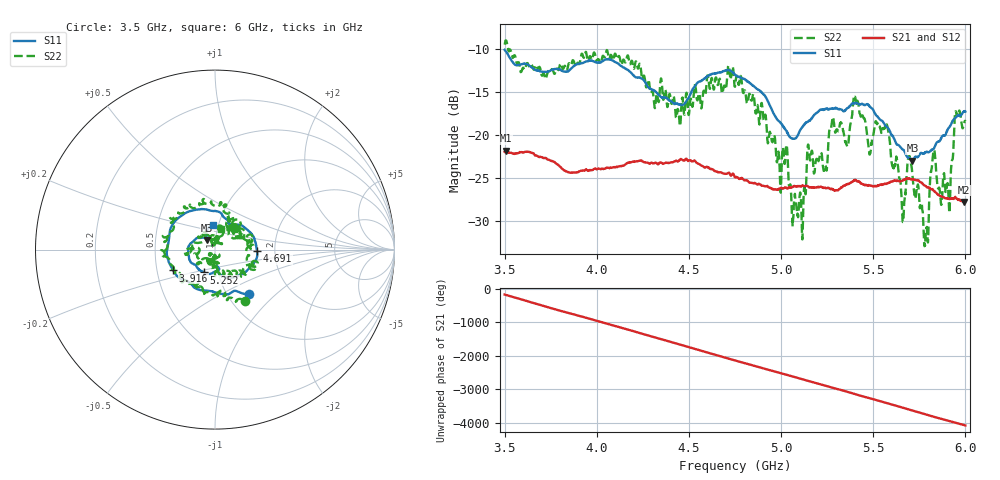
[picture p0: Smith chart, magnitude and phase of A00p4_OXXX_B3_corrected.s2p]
! Created with skrf 1.9.0 (http://scikit-rf.org).
# Hz S RI R 50.0
!freq ReS11 ImS11 ReS21 ImS21 ReS12 ImS12 ReS22 ImS22
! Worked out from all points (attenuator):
!   1601 points, 3.5 GHz to 6 GHz, reference 50 ohm
!   highest |S21| = -21.85 dB at 3.509 GHz (marker M1); lowest = -27.8 dB at 5.992 GHz (marker M2)
!   lowest |S11| = -23.0 dB at 5.713 GHz (marker M3), VSWR 1.15, Z = 45.3 + j4.83 ohm
!   |S11| at or under -10 dB: start of sweep to end of sweep
!   |S22| runs from -32.9 to -9.0 dB; largest |S21 - S12| = 0.001
!   S11 on the Smith chart (normalised r, x): 3.5 GHz: 1.25, -0.69; 3.916 GHz: 0.61, -0.15; 4.691 GHz: 1.61, -0.03; 5.252 GHz: 0.86, -0.22; 6 GHz: 0.95, +0.26
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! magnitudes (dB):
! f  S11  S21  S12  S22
! 3.5 GHz  -10.1  -22.0  -21.9  -9.5
! 3.509 GHz  -10.4  -21.8  -21.9  -9.1
! 3.916 GHz  -11.7  -24.2  -24.2  -10.8
! 3.917 GHz  -11.7  -24.1  -24.2  -10.6
! 4.334 GHz  -15.3  -23.4  -23.3  -16.1
! 4.691 GHz  -12.6  -24.5  -24.5  -14.3
! 4.75 GHz  -13.0  -24.9  -24.9  -14.4
! 5.022 GHz  -19.3  -26.1  -26.1  -23.0
! 5.069 GHz  -20.5  -25.9  -25.9  -28.3
! 5.167 GHz  -18.0  -26.1  -26.1  -21.8
! 5.252 GHz  -17.0  -26.2  -26.2  -23.1
! 5.403 GHz  -16.3  -25.2  -25.2  -15.8
! 5.48 GHz  -16.7  -25.9  -25.8  -22.3
! 5.584 GHz  -19.3  -25.5  -25.5  -19.8
! 5.662 GHz  -21.7  -25.2  -25.2  -30.1
! 5.713 GHz  -23.0  -25.2  -25.1  -24.7
! 5.787 GHz  -22.0  -26.0  -25.9  -30.9
! 5.823 GHz  -21.7  -26.3  -26.3  -22.4
! 5.905 GHz  -19.3  -27.4  -27.3  -25.7
! 5.952 GHz  -17.9  -27.4  -27.4  -17.6
! 5.992 GHz  -17.3  -27.8  -27.7  -18.8
! 6 GHz  -17.3  -27.7  -27.7  -18.4
